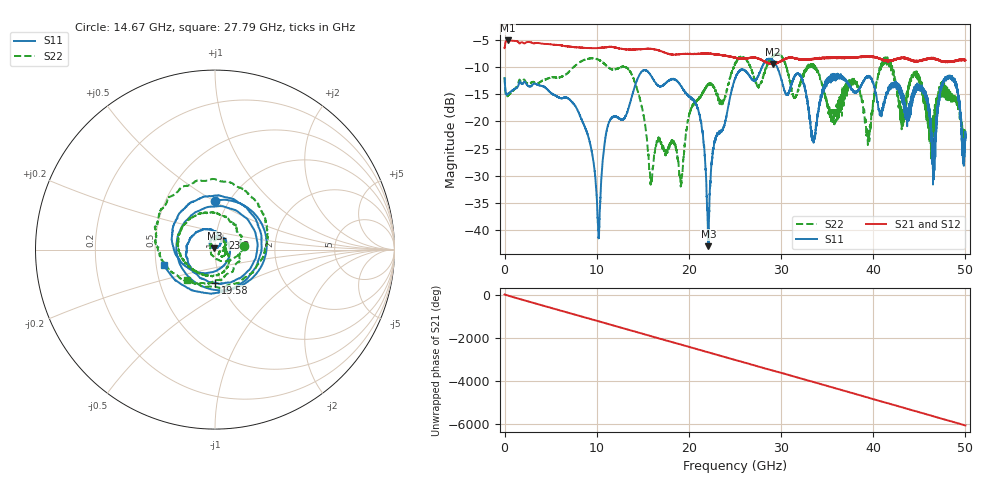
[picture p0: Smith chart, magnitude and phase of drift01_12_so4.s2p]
!Created with skrf (http://scikit-rf.org).
# Hz S RI R 50.0
!freq ReS11 ImS11 ReS21 ImS21 ReS12 ImS12 ReS22 ImS22
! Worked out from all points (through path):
!   10001 points, 300 kHz to 50 GHz, reference 50 ohm
!   highest |S21| = -5.05 dB at 325.3 MHz (marker M1); lowest = -9.4 dB at 29.08 GHz (marker M2)
!   group delay of S21, straight-line fit = 336 ps
!   lowest |S11| = -43.0 dB at 22.11 GHz (marker M3), VSWR 1.01, Z = 49.7 + j0.631 ohm
!   |S11| at or under -10 dB: start of sweep to 27.92 GHz; 29.58 GHz to end of sweep
!   |S22| runs from -32.0 to -7.4 dB; largest |S21 - S12| = 0.011
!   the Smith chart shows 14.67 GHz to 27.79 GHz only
!   S11 on the Smith chart (normalised r, x): 14.67 GHz: 0.86, +0.51; 19.58 GHz: 0.93, -0.36; 23.2 GHz: 1.07, +0.14; 27.79 GHz: 0.55, -0.11
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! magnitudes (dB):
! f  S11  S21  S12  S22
! 300 kHz  -12.0  -6.5  -6.6  -11.8
! 325.3 MHz  -15.0  -5.1  -5.1  -15.3
! 8.335 GHz  -19.6  -6.4  -6.4  -8.9
! 10.2 GHz  -41.0  -6.4  -6.4  -8.6
! 11.24 GHz  -20.6  -6.3  -6.3  -10.0
! 14.67 GHz  -11.3  -6.7  -6.7  -15.8
! 15.87 GHz  -11.5  -6.6  -6.6  -31.4
! 16.67 GHz  -13.4  -6.9  -6.9  -23.2
! 19.58 GHz  -14.6  -7.5  -7.5  -23.7
! 21.2 GHz  -19.1  -7.5  -7.5  -15.5
! 22.11 GHz  -43.0  -7.5  -7.5  -13.1
! 23.2 GHz  -22.2  -7.7  -7.7  -15.9
! 25 GHz  -12.1  -8.2  -8.3  -9.4
! 27.79 GHz  -10.5  -8.6  -8.6  -12.8
! 29.08 GHz  -8.7  -9.4  -9.4  -7.9
! 33.34 GHz  -22.7  -8.5  -8.5  -9.6
! 39.47 GHz  -11.6  -8.0  -8.0  -22.4
! 41.67 GHz  -13.9  -8.8  -8.8  -9.3
! 45.36 GHz  -14.0  -8.6  -8.6  -14.1
! 46.56 GHz  -26.9  -8.4  -8.3  -21.0
! 48.52 GHz  -11.7  -9.0  -9.0  -15.3
! 50 GHz  -23.0  -8.7  -8.7  -22.6
